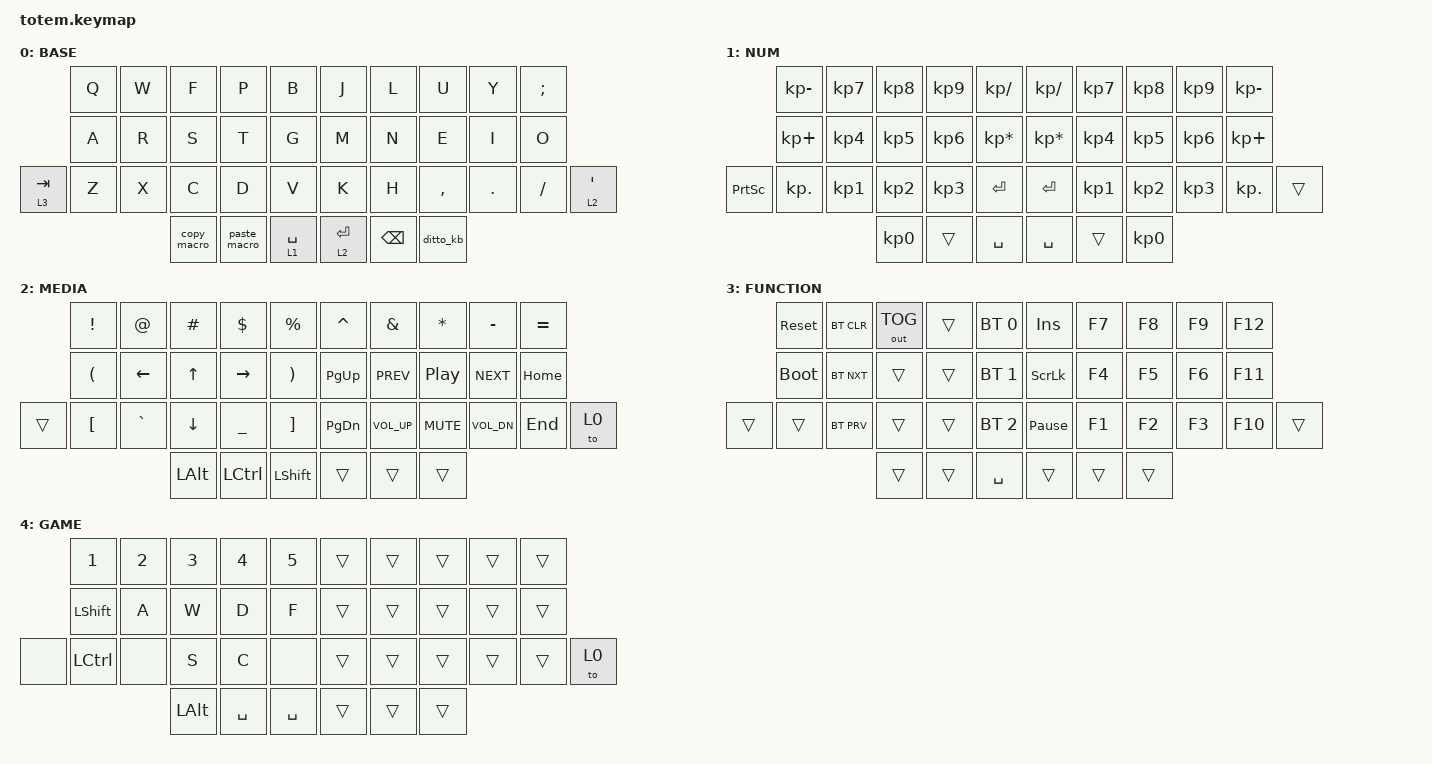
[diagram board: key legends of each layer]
//
//                                                        ▀▀▀▀▀     ▀▀▀▀▀          ▀▀█▀▀
//                                                        ▄▀▀▀▄  ▄  ▄▀▀▀▄  ▄  ▄▀▀▀▄  █  ▄▀▀▀▄
//                                                        █   █  █  █   █  █  █   █  █  █   █
//                                                         ▀▀▀   █   ▀▀▀   █   ▀▀▀   ▀   ▀▀▀
//                                                               █      ▄▄▄█▄▄▄    █   █  
//                                                               ▀      █  █  █     █▄█
//                                                             ▀▀▀▀▀    █  █  █      ▀
//                                                                      ▀  ▀  ▀
//
// ▄▄▄▄▄▄▄▄▄▄▄▄▄▄▄▄▄▄▄▄▄▄▄▄▄▄▄▄▄▄▄▄▄▄▄▄▄▄▄▄▄▄▄▄▄▄▄▄▄▄▄▄▄▄▄▄▄▄▄▄▄▄▄▄▄▄▄▄▄▄▄▄▄▄▄▄▄▄▄▄▄▄▄▄▄▄▄▄▄▄▄▄▄▄▄▄▄▄▄▄▄▄▄▄▄▄▄▄▄▄▄▄▄▄▄▄▄▄▄▄▄▄▄▄▄▄▄▄▄▄▄▄▄▄▄▄▄▄▄▄▄▄▄▄▄▄▄▄▄

#include <behaviors.dtsi>
#include <dt-bindings/zmk/bt.h>
#include <dt-bindings/zmk/keys.h>
#include <dt-bindings/zmk/outputs.h>

#define BASE      0
#define NUM       1
#define MEDIA     2
#define FUNCTION  3
#define GAME      4

&mt {
    quick-tap-ms = <100>;
    global-quick-tap;
    flavor = "tap-preferred";
    tapping-term-ms = <170>;
};

/ {
    behaviors {
        hm: homerow_mods {
            compatible = "zmk,behavior-hold-tap";
            label = "HOMEROW_MODS";
            #binding-cells = <2>;
            tapping-term-ms = <200>;			// <---[[produces tap if held longer than tapping-term-ms]]
            quick_tap_ms = <0>;
            flavor = "tap-preferred";
            bindings = <&kp>, <&kp>;
        };

        lc: layer_change {
            compatible = "zmk,behavior-hold-tap";
            #binding-cells = <2>;
            flavor = "hold-preferred";
            tapping-term-ms = <200>;
            quick-tap-ms = <200>;
            require-prior-idle-ms = <125>;
            bindings = <&to>, <&kp>;
        };

        sc: sticky_layer_change {
            compatible = "zmk,behavior-hold-tap";
            #binding-cells = <2>;
            flavor = "hold-preferred";
            tapping-term-ms = <200>;
            quick-tap-ms = <200>;
            require-prior-idle-ms = <125>;
            bindings = <&sl>, <&kp>;
        };

        dl: dualayer_change {
            compatible = "zmk,behavior-hold-tap";
            #binding-cells = <2>;
            flavor = "hold-preferred";
            tapping-term-ms = <200>;
            quick-tap-ms = <200>;
            require-prior-idle-ms = <125>;
            bindings = <&to>, <&sl>;
        };

        ts: temp_sticky {
            compatible = "zmk,behavior-hold-tap";
            #binding-cells = <2>;
            flavor = "hold-preferred";
            tapping-term-ms = <200>;
            quick-tap-ms = <200>;
            require-prior-idle-ms = <125>;
            bindings = <&mo>, <&to>;
        };
    };

    combos {
        compatible = "zmk,combos";

        combo_esc {
            timeout-ms = <50>;
            key-positions = <0 1>;
            layers = <0 1 2 3>;
            bindings = <&kp ESC>;
        };

        combo_boot {
            timeout-ms = <50>;
            key-positions = <20 31>;
            layers = <1 2 3>;
            bindings = <&bootloader>;
        };

        combo_undo {
            timeout-ms = <50>;
            key-positions = <34 35>;
            layers = <0 1 2 3>;
            bindings = <&undo_macro>;
        };

        combo_shift1 {
            timeout-ms = <50>;
            key-positions = <12 13>;
            layers = <0>;
            bindings = <&kp LSHFT>;
        };

        combo_shift2 {
            timeout-ms = <50>;
            key-positions = <16 17>;
            layers = <0 1 2>;
            bindings = <&kp RSHFT>;
        };

        combo_ctrl1 {
            timeout-ms = <50>;
            key-positions = <11 13>;
            layers = <0>;
            bindings = <&kp LCTRL>;
        };

        combo_ctrl2 {
            timeout-ms = <50>;
            key-positions = <16 18>;
            layers = <0>;
            bindings = <&kp RCTRL>;
        };

        combo_alt1 {
            timeout-ms = <50>;
            key-positions = <13 10>;
            layers = <0>;
            bindings = <&kp LALT>;
        };

        combo_alt2 {
            timeout-ms = <50>;
            key-positions = <16 19>;
            layers = <0>;
            bindings = <&kp RALT>;
        };

        combo_super {
            timeout-ms = <50>;
            key-positions = <32 37>;
            layers = <0>;
            bindings = <&kp LGUI>;
        };

        combo_backspace {
            key-positions = <8 9>;
            timeout-ms = <50>;
            layers = <0 1 2 3>;
            bindings = <&kp BACKSPACE>;
        };

        to_game_layer {
            bindings = <&to 4>;
            key-positions = <4 5>;
            layers = <0 1 2 3>;
        };

        region_screen {
            bindings = <&capture_region>;
            key-positions = <20 25>;
            layers = <0 1 2 3>;
        };

        /* 			combo_copy {
                timeout-ms = <50>;
                key-positions = <5 31 24>;
                bindings = <&bootloader>;
            };
			combo_paste {
                timeout-ms = <50>;
                key-positions = <5 31 12>;
                bindings = <&bootloader>;
            }; */
    };

    macros {
        ditto_kb: ditto_kb {
            compatible = "zmk,behavior-macro";
            #binding-cells = <0>;
            bindings =
                <&macro_press>,
                <&kp LCTRL>,
                <&macro_tap>,
                <&kp GRAVE>,
                <&macro_release>,
                <&kp LCTRL>;
        };

        copy_macro: copy_macro {
            compatible = "zmk,behavior-macro";
            #binding-cells = <0>;
            bindings =
                <&macro_press>,
                <&kp LCTRL>,
                <&macro_tap>,
                <&kp C>,
                <&macro_release>,
                <&kp LCTRL>;
        };

        paste_macro: paste_macro {
            compatible = "zmk,behavior-macro";
            #binding-cells = <0>;
            bindings =
                <&macro_press>,
                <&kp LCTRL>,
                <&macro_tap>,
                <&kp V>,
                <&macro_release>,
                <&kp LCTRL>;
        };

        undo_macro: undo_macro {
            compatible = "zmk,behavior-macro";
            #binding-cells = <0>;
            bindings =
                <&macro_press>,
                <&kp LCTRL>,
                <&macro_tap>,
                <&kp Z>,
                <&macro_release>,
                <&kp LCTRL>;
        };

        gif: gif {
            label = "giphy";
            compatible = "zmk,behavior-macro";
            #binding-cells = <0>;
            bindings =
                <&macro_press>,
                <&kp LSHFT>,
                <&macro_tap>,
                <&kp N2>,
                <&macro_release>,
                <&kp LSHFT>,
                <&macro_tap>,
                <&kp G &kp I &kp F>;
        };

        capture_region: capture_region {
            compatible = "zmk,behavior-macro";
            #binding-cells = <0>;
            bindings =
                <&macro_press>,
                <&kp LCTRL>,
                <&macro_tap>,
                <&kp PRINTSCREEN>,
                <&macro_release>,
                <&kp LCTRL>;

            label = "CAPTURE_REGION";
        };
    };

    keymap {
        compatible = "zmk,keymap";

        // ▄▄▄▄▄▄▄▄▄▄▄▄▄▄▄▄▄▄▄▄▄▄▄▄▄▄▄▄▄▄▄▄▄▄▄▄▄▄▄▄▄▄▄▄▄▄▄▄▄▄▄▄▄▄▄▄▄▄▄▄▄▄▄▄▄▄▄▄▄▄▄▄▄▄▄▄▄▄▄▄▄▄▄▄▄▄▄▄▄▄▄▄▄▄▄▄▄▄▄▄▄▄▄▄▄▄▄▄▄▄▄▄▄▄▄▄▄▄▄▄▄▄▄▄▄▄▄▄▄▄▄▄▄▄▄▄▄▄▄▄▄▄▄▄▄▄▄▄▄

        base_layer {
            // ┏━━━━━━━━━━━━━━━━━━━━━━━━━━━━━━━━━━━━━━━┓

            label = "BASE";

            // ┗━━━━━━━━━━━━━━━━━━━━━━━━━━━━━━━━━━━━━━━┛
            //             ┌─────────┬─────────┬─────────┬─────────┬─────────┐                     ┌─────────┬─────────┬─────────┬─────────┬─────────┐
            //             │    Q    │    W    │    F    │    P    │    B    │                     │    J    │    L    │    U    │    Y    │    ;    │   
            //             ├─────────┼─────────┼─────────┼─────────┼─────────┤                     ├─────────┼─────────┼─────────┼─────────┼─────────┤
            //             │    A    │    R    │    S    │    T    │    G    │                     │    M    │    N    │    E    │    I    │    O    │
            //   ┌─────────┼─────────┼─────────┼─────────┼─────────┼─────────┤                     ├─────────┼─────────┼─────────┼─────────┼─────────┼─────────┐
            //   │   TAB   │    Z    │    X    │    C    │    D    │    V    │                     │    K    │    H    │    ,    │    .    │    /    │    '    │
            //   └─────────┴─────────┴─────────┴─────────┼─────────┼─────────┼──────────┬┬─────────┼─────────┼─────────┼─────────┴─────────┴─────────┴─────────┘
            //                                           │   COPY  │  PASTE  │  SPACE   ││  ENTER  │  BSPCE  │  DITTO  │  
            //                                           └─────────┴─────────┴──────────┘└─────────┴─────────┴─────────┘

            bindings = <
           &kp Q  &kp W  &kp F        &kp P         &kp B          &kp J      &kp L     &kp U      &kp Y    &kp SEMI
           &kp A  &kp R  &kp S        &kp T         &kp G          &kp M      &kp N     &kp E      &kp I    &kp O
&lt 3 TAB  &kp Z  &kp X  &kp C        &kp D         &kp V          &kp K      &kp H     &kp COMMA  &kp DOT  &kp FSLH  &lc 2 SQT
                         &copy_macro  &paste_macro  &lt 1 SPACE    &lt 2 RET  &kp BSPC  &ditto_kb
            >;
        };

        // ▄▄▄▄▄▄▄▄▄▄▄▄▄▄▄▄▄▄▄▄▄▄▄▄▄▄▄▄▄▄▄▄▄▄▄▄▄▄▄▄▄▄▄▄▄▄▄▄▄▄▄▄▄▄▄▄▄▄▄▄▄▄▄▄▄▄▄▄▄▄▄▄▄▄▄▄▄▄▄▄▄▄▄▄▄▄▄▄▄▄▄▄▄▄▄▄▄▄▄▄▄▄▄▄▄▄▄▄▄▄▄▄▄▄▄▄▄▄▄▄▄▄▄▄▄▄▄▄▄▄▄▄▄▄▄▄▄▄▄▄▄▄▄▄▄▄▄▄▄

        num_layer {
            // ┏━━━━━━━━━━━━━━━━━━━━━━━━━━━━━━━━━━━━━━━┓

            label = "NUM";

            // ┗━━━━━━━━━━━━━━━━━━━━━━━━━━━━━━━━━━━━━━━┛
            //             ┌─────────┬─────────┬─────────┬─────────┬─────────┐                     ┌─────────┬─────────┬─────────┬─────────┬─────────┐
            //             │    -    │    7    │    8    │    9    │    /    │                     │    /    │    7    │    8    │    9    │    -    │
            //             ├─────────┼─────────┼─────────┼─────────┼─────────┤                     ├─────────┼─────────┼─────────┼─────────┼─────────┤
            //             │    +    │    4    │    5    │    6    │    *    │                     │    *    │    4    │    5    │    6    │    +    │
            //   ┌─────────┼─────────┼─────────┼─────────┼─────────┼─────────┤                     ├─────────┼─────────┼─────────┼─────────┼─────────┼─────────┐
            //   │  PRINT  │    .    │    1    │    2    │    3    │ ------- │                     │ ------- │    1    │    2    │    3    │    .    │         │
            //   └─────────┴─────────┴─────────┴─────────┼─────────┼─────────┼──────────┬┬─────────┼─────────┼─────────┼─────────┴─────────┴─────────┴─────────┘
            //                                           │    0    │  ENTER  │  SPACE   ││  SPACE  │  ENTER  │    0    │ 
            //                                           └─────────┴─────────┴──────────┘└─────────┴─────────┴─────────┘

            bindings = <
           &kp KP_MINUS  &kp KP_N7  &kp KP_N8  &kp KP_N9  &kp KP_DIVIDE      &kp KP_DIVIDE    &kp KP_N7  &kp KP_N8  &kp KP_N9  &kp KP_MINUS
           &kp KP_PLUS   &kp KP_N4  &kp KP_N5  &kp KP_N6  &kp KP_MULTIPLY    &kp KP_MULTIPLY  &kp KP_N4  &kp KP_N5  &kp KP_N6  &kp KP_PLUS
&kp PSCRN  &kp KP_DOT    &kp KP_N1  &kp KP_N2  &kp KP_N3  &kp RET            &kp RET          &kp KP_N1  &kp KP_N2  &kp KP_N3  &kp KP_DOT    &trans
                                    &kp KP_N0  &trans     &kp SPACE          &kp SPACE        &trans     &kp KP_N0
            >;
        };

        // ▄▄▄▄▄▄▄▄▄▄▄▄▄▄▄▄▄▄▄▄▄▄▄▄▄▄▄▄▄▄▄▄▄▄▄▄▄▄▄▄▄▄▄▄▄▄▄▄▄▄▄▄▄▄▄▄▄▄▄▄▄▄▄▄▄▄▄▄▄▄▄▄▄▄▄▄▄▄▄▄▄▄▄▄▄▄▄▄▄▄▄▄▄▄▄▄▄▄▄▄▄▄▄▄▄▄▄▄▄▄▄▄▄▄▄▄▄▄▄▄▄▄▄▄▄▄▄▄▄▄▄▄▄▄▄▄▄▄▄▄▄▄▄▄▄▄▄▄▄

        media_layer {
            // ┏━━━━━━━━━━━━━━━━━━━━━━━━━━━━━━━━━━━━━━━┓

            label = "MEDIA";

            // ┗━━━━━━━━━━━━━━━━━━━━━━━━━━━━━━━━━━━━━━━┛
            //             ┌─────────┬─────────┬─────────┬─────────┬─────────┐                    ┌─────────┬─────────┬─────────┬─────────┬─────────┐
            //             │    !    │    @    │    #    │    $    │    %    │                    │    ^    │    &    │    *    │    -    │    +    │   
            //             ├─────────┼─────────┼─────────┼─────────┼─────────┤                    ├─────────┼─────────┼─────────┼─────────┼─────────┤
            //             │    (    │    ←    │    ↑    │    →    │    )    │                    │  PGUP   │    <    │  PLAY   │    >    │   HOME  │
            //   ┌─────────┼─────────┼─────────┼─────────┼─────────┼─────────┤                    ├─────────┼─────────┼─────────┼─────────┼─────────┼─────────┐
            //   │         │    [    │    `    │    ↓    │    _    │    ]    │                    │  PGDWN  │   VOL+  │  MUTE   │   VOL-  │   END   │  TO_0   │
            //   └─────────┴─────────┴─────────┴─────────┼─────────┼─────────┼─────────┬┬─────────┼─────────┼─────────┼─────────┴─────────┴─────────┴─────────┘
            //                                           │   ALT   │  CTRL   │  SHIFT  ││         │         │         │  
            //                                           └─────────┴─────────┴─────────┘└─────────┴─────────┴─────────┘

            bindings = <
        &kp EXCL  &kp AT     &kp HASH  &kp DLLR   &kp PRCNT    &kp CARET  &kp AMPS      &kp ASTRK   &kp MINUS     &kp EQUAL
        &kp LPAR  &kp LEFT   &kp UP    &kp RIGHT  &kp RPAR     &kp PG_UP  &kp C_PREV    &kp C_PP    &kp C_NEXT    &kp HOME
&trans  &kp LBKT  &kp GRAVE  &kp DOWN  &kp UNDER  &kp RBKT     &kp PG_DN  &kp C_VOL_UP  &kp C_MUTE  &kp C_VOL_DN  &kp END    &to 0
                             &kp LALT  &kp LCTRL  &kp LSHFT    &trans     &trans        &trans
            >;
        };

        // ▄▄▄▄▄▄▄▄▄▄▄▄▄▄▄▄▄▄▄▄▄▄▄▄▄▄▄▄▄▄▄▄▄▄▄▄▄▄▄▄▄▄▄▄▄▄▄▄▄▄▄▄▄▄▄▄▄▄▄▄▄▄▄▄▄▄▄▄▄▄▄▄▄▄▄▄▄▄▄▄▄▄▄▄▄▄▄▄▄▄▄▄▄▄▄▄▄▄▄▄▄▄▄▄▄▄▄▄▄▄▄▄▄▄▄▄▄▄▄▄▄▄▄▄▄▄▄▄▄▄▄▄▄▄▄▄▄▄▄▄▄▄▄▄▄▄▄▄▄

        function_layer {
            // ┏━━━━━━━━━━━━━━━━━━━━━━━━━━━━━━━━━━━━━━━┓

            label = "FUNCTION";

            // ┗━━━━━━━━━━━━━━━━━━━━━━━━━━━━━━━━━━━━━━━┛
            //             ┌─────────┬─────────┬─────────┬─────────┬─────────┐                     ┌─────────┬─────────┬─────────┬─────────┬─────────┐
            //             │  RESET  │  BT CLR │ OUT TOG │         │ BTSEL 0 │                     │   INS   │    F7   │    F8   │    F9   │   F12   │
            //             ├─────────┼─────────┼─────────┼─────────┼─────────┤                     ├─────────┼─────────┼─────────┼─────────┼─────────┤
            //             │  BOOTLD │ BT NEXT │         │         │ BTSEL 1 │                     │  SCRL   │    F4   │    F5   │    F6   │   F11   │
            //   ┌─────────┼─────────┼─────────┼─────────┼─────────┼─────────┤                     ├─────────┼─────────┼─────────┼─────────┼─────────┼─────────┐
            //   │         │         │ BT PREV │         │         │ BTSEL 2 │                     │  PAUSE  │    F1   │    F2   │    F3   │   F10   │         │
            //   └─────────┴─────────┴─────────┴─────────┼─────────┼─────────┼──────────┬┬─────────┼─────────┼─────────┼─────────┴─────────┴─────────┴─────────┘
            //                                           │         │         │  SPACE   ││         │         │         │ 
            //                                           └─────────┴─────────┴──────────┘└─────────┴─────────┴─────────┘

            bindings = <
        &sys_reset   &bt BT_CLR  &out OUT_TOG  &trans  &bt BT_SEL 0    &kp INSERT       &kp F7  &kp F8  &kp F9  &kp F12
        &bootloader  &bt BT_NXT  &trans        &trans  &bt BT_SEL 1    &kp SLCK         &kp F4  &kp F5  &kp F6  &kp F11
&trans  &trans       &bt BT_PRV  &trans        &trans  &bt BT_SEL 2    &kp PAUSE_BREAK  &kp F1  &kp F2  &kp F3  &kp F10  &trans
                                 &trans        &trans  &kp SPACE       &trans           &trans  &trans
            >;
        };

        // ▄▄▄▄▄▄▄▄▄▄▄▄▄▄▄▄▄▄▄▄▄▄▄▄▄▄▄▄▄▄▄▄▄▄▄▄▄▄▄▄▄▄▄▄▄▄▄▄▄▄▄▄▄▄▄▄▄▄▄▄▄▄▄▄▄▄▄▄▄▄▄▄▄▄▄▄▄▄▄▄▄▄▄▄▄▄▄▄▄▄▄▄▄▄▄▄▄▄▄▄▄▄▄▄▄▄▄▄▄▄▄▄▄▄▄▄▄▄▄▄▄▄▄▄▄▄▄▄▄▄▄▄▄▄▄▄▄▄▄▄▄▄▄▄▄▄▄▄▄		

        game_layer {
            // ┏━━━━━━━━━━━━━━━━━━━━━━━━━━━━━━━━━━━━━━━┓

            label = "GAME";

            // ┗━━━━━━━━━━━━━━━━━━━━━━━━━━━━━━━━━━━━━━━┛
            //             ┌─────────┬─────────┬─────────┬─────────┬─────────┐                    ┌─────────┬─────────┬─────────┬─────────┬─────────┐
            //             │    1    │    2    │    3    │    4    │    5    │                    │         │         │         │         │         │   
            //             ├─────────┼─────────┼─────────┼─────────┼─────────┤                    ├─────────┼─────────┼─────────┼─────────┼─────────┤
            //             │  SHIFT  │    A    │    W    │    D    │    F    │                    │         │         │         │         │         │
            //   ┌─────────┼─────────┼─────────┼─────────┼─────────┼─────────┤                    ├─────────┼─────────┼─────────┼─────────┼─────────┼─────────┐
            //   │ ------- │  CRTL   │ ------- │    S    │    C    │ ------- │                    │         │         │         │         │         │         │
            //   └─────────┴─────────┴─────────┴─────────┼─────────┼─────────┼─────────┬┬─────────┼─────────┼─────────┼─────────┴─────────┴─────────┴─────────┘
            //                                           │   ALT   │  SPACE  │  SPACE  ││         │         │         │  
            //                                           └─────────┴─────────┴─────────┘└─────────┴─────────┴─────────┘

            bindings = <
       &kp N1     &kp N2  &kp N3    &kp N4     &kp N5       &trans  &trans  &trans  &trans  &trans
       &kp LSHFT  &kp A   &kp W     &kp D      &kp F        &trans  &trans  &trans  &trans  &trans
&none  &kp LCTRL  &none   &kp S     &kp C      &none        &trans  &trans  &trans  &trans  &trans  &to 0
                          &kp LALT  &kp SPACE  &kp SPACE    &trans  &trans  &trans
            >;
        };

        // ▄▄▄▄▄▄▄▄▄▄▄▄▄▄▄▄▄▄▄▄▄▄▄▄▄▄▄▄▄▄▄▄▄▄▄▄▄▄▄▄▄▄▄▄▄▄▄▄▄▄▄▄▄▄▄▄▄▄▄▄▄▄▄▄▄▄▄▄▄▄▄▄▄▄▄▄▄▄▄▄▄▄▄▄▄▄▄▄▄▄▄▄▄▄▄▄▄▄▄▄▄▄▄▄▄▄▄▄▄▄▄▄▄▄▄▄▄▄▄▄▄▄▄▄▄▄▄▄▄▄▄▄▄▄▄▄▄▄▄▄▄▄▄▄▄▄▄▄▄		
    };
};
